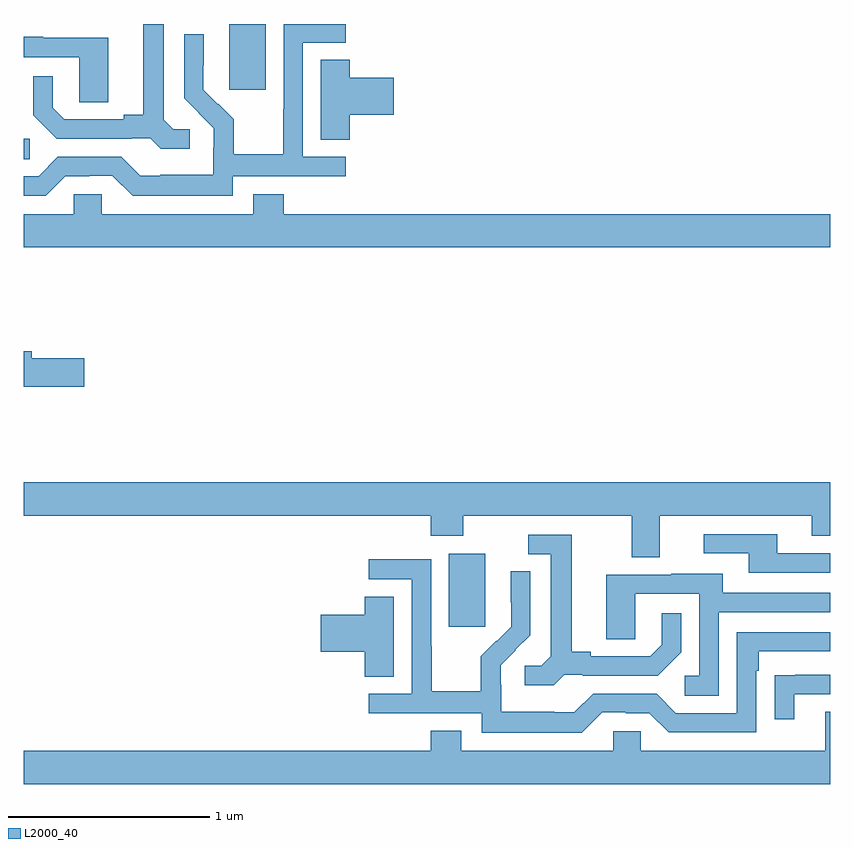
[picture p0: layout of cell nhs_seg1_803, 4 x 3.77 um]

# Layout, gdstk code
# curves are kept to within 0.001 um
import gdstk
lib = gdstk.Library(unit=1e-6, precision=1e-09)
def R(c, l, rs):  # rectangles x0, y0, x1, y1
    for r in rs: c.add(gdstk.rectangle(r[:2], r[2:], *l))
def P(c, l, *ps):  # polygons
    for p in ps: c.add(gdstk.Polygon(p, *l))
L2000_40 = (2000, 40)

nhs_seg1_803 = lib.new_cell('nhs_seg1_803')
R(nhs_seg1_803, L2000_40, [(157.109,523.209,157.288,523.57), (155,525.529,155.029,525.63), (156.02,525.873,156.199,526.199)])
P(nhs_seg1_803, L2000_40, [(155.824,525.678),(155.742,525.678),(155.695,525.725),(155.695,526.199),(155.591,526.199),(155.591,525.749),(155.495,525.749),(155.495,525.726),(155.2,525.726),(155.143,525.783),(155.143,525.94),(155.046,525.94),(155.046,525.746),(155.162,525.63),(155.534,525.63),(155.534,525.633),(155.628,525.633),(155.68,525.581),(155.824,525.581)],
  [(156.036,525.444),(156.598,525.444),(156.598,525.54),(156.384,525.54),(156.384,526.107),(156.598,526.107),(156.598,526.199),(156.288,526.199),(156.288,525.776),(156.286,525.776),(156.286,525.553),(156.041,525.553),(156.041,525.727),(155.964,525.804),(155.961,525.801),(155.891,525.872),(155.892,526.148),(155.796,526.148),(155.796,525.83),(155.942,525.682),(155.942,525.585),(155.94,525.585),(155.94,525.451),(155.677,525.451),(155.677,525.447),(155.577,525.447),(155.484,525.54),(155.169,525.54),(155.073,525.444),(155,525.444),(155,525.348),(155.109,525.348),(155.205,525.444),(155.324,525.444),(155.324,525.447),(155.439,525.447),(155.539,525.347),(156.036,525.347)],
  [(155.419,526.131),(155.095,526.131),(155.095,526.135),(155,526.135),(155,526.035),(155.274,526.035),(155.274,525.811),(155.419,525.811)],
  [(156.617,525.749),(156.835,525.749),(156.835,525.932),(156.617,525.932),(156.617,526.022),(156.473,526.022),(156.473,525.625),(156.617,525.625)],
  [(159,525.256),(156.29,525.256),(156.29,525.355),(156.137,525.355),(156.137,525.256),(155.385,525.256),(155.385,525.354),(155.247,525.354),(155.247,525.256),(155,525.256),(155,525.092),(159,525.092)],
  [(155.299,524.54),(155.038,524.54),(155.038,524.576),(155,524.576),(155,524.398),(155.299,524.398)],
  [(158.155,523.76),(158.909,523.76),(158.909,523.661),(159,523.661),(159,523.924),(155,523.924),(155,523.76),(157.019,523.76),(157.019,523.661),(157.179,523.661),(157.179,523.76),(158.015,523.76),(158.015,523.552),(158.155,523.552)],
  [(159,523.572),(158.737,523.572),(158.737,523.668),(158.373,523.668),(158.373,523.572),(158.597,523.572),(158.597,523.476),(159,523.476)],
  [(157.68,522.969),(157.774,522.969),(157.774,522.966),(158.146,522.966),(158.262,523.082),(158.262,523.276),(158.165,523.276),(158.165,523.119),(158.108,523.062),(157.813,523.062),(157.813,523.085),(157.717,523.085),(157.717,523.665),(157.503,523.665),(157.503,523.569),(157.613,523.569),(157.613,523.061),(157.566,523.014),(157.485,523.014),(157.485,522.917),(157.628,522.917)],
  [(157.869,522.783),(157.985,522.783),(157.985,522.78),(158.103,522.78),(158.199,522.684),(158.634,522.684),(158.634,522.989),(158.647,522.989),(158.647,523.086),(159,523.086),(159,523.182),(158.538,523.182),(158.538,522.78),(158.235,522.78),(158.139,522.876),(157.824,522.876),(157.731,522.783),(157.631,522.783),(157.631,522.787),(157.368,522.787),(157.368,522.921),(157.366,522.921),(157.366,523.018),(157.512,523.166),(157.512,523.484),(157.416,523.484),(157.416,523.33),(157.418,523.33),(157.418,523.208),(157.347,523.137),(157.344,523.14),(157.267,523.063),(157.267,522.889),(157.023,522.889),(157.023,523.112),(157.02,523.112),(157.02,523.542),(156.711,523.542),(156.711,523.443),(156.924,523.443),(156.924,522.876),(156.711,522.876),(156.711,522.78),(157.272,522.78),(157.272,522.683),(157.769,522.683)],
  [(158.448,523.281),(159,523.281),(159,523.377),(158.467,523.377),(158.467,523.471),(158.213,523.471),(158.213,523.467),(157.889,523.467),(157.889,523.147),(158.034,523.147),(158.034,523.371),(158.352,523.371),(158.352,522.966),(158.28,522.966),(158.28,522.865),(158.448,522.865)],
  [(156.835,523.358),(156.692,523.358),(156.692,523.268),(156.474,523.268),(156.474,523.085),(156.692,523.085),(156.692,522.961),(156.835,522.961)],
  [(158.821,522.873),(159,522.873),(159,522.969),(158.827,522.969),(158.827,522.968),(158.725,522.968),(158.725,522.75),(158.821,522.75)],
  [(159,522.787),(158.975,522.787),(158.975,522.592),(158.061,522.592),(158.061,522.69),(157.923,522.69),(157.923,522.592),(157.171,522.592),(157.171,522.691),(157.019,522.691),(157.019,522.592),(155,522.592),(155,522.428),(159,522.428)])

lib.write_gds('nhs_seg1_803.gds')
